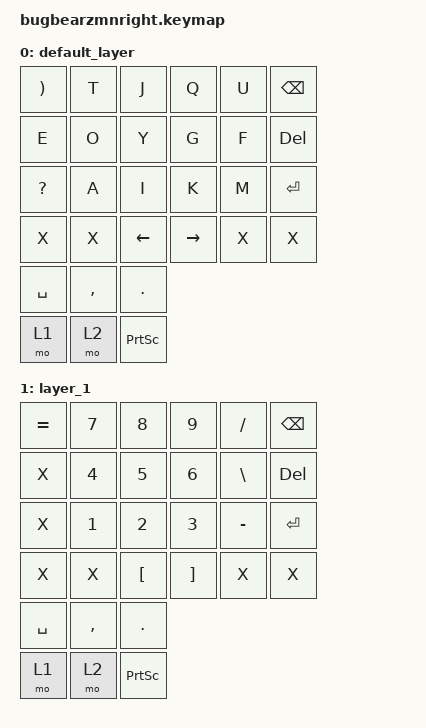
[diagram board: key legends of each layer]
#include <behaviors.dtsi>
#include <dt-bindings/zmk/keys.h>

/ {
    keymap {
        compatible = "zmk,keymap";

        default_layer {
            bindings = <
                &kp RPAR  &kp T  &kp J  &kp Q  &kp U  &kp BSPC
                &kp E     &kp O  &kp Y  &kp G  &kp F  &kp DEL
                &kp QMARK &kp A  &kp I  &kp K  &kp M  &kp RETURN
                &kp X     &kp X  &kp LEFT &kp RIGHT &kp X &kp X
                
                &kp SPACE &kp COMMA &kp DOT
                &mo 1 &mo 2 &kp PRINTSCREEN

            >;
        };
        layer_1 {
            bindings = <
                &kp EQUAL   &kp N7  &kp N8   &kp N9  &kp SLASH  &kp BSPC
                &kp X       &kp N4  &kp N5   &kp N6  &kp BACKSLASH  &kp DEL
                &kp X      &kp N1  &kp N2   &kp N3  &kp MINUS  &kp RETURN
                &kp X      &kp X  &kp LBKT &kp RBKT &kp X &kp X

                &kp SPACE &kp COMMA &kp DOT
                &mo 1 &mo 2 &kp PRINTSCREEN
            >;
       };
    };
};
